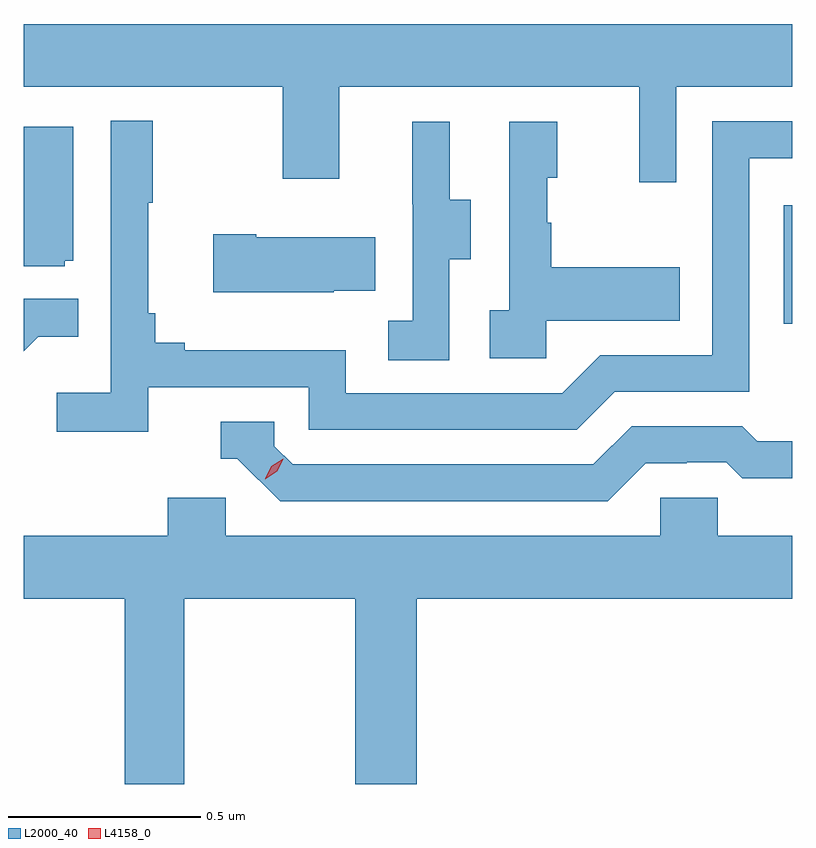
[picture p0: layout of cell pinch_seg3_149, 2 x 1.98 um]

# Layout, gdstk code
import gdstk
lib = gdstk.Library(unit=1e-6, precision=1e-09)
def R(c, l, rs):  # rectangles x0, y0, x1, y1
    for r in rs: c.add(gdstk.rectangle(r[:2], r[2:], *l))
def P(c, l, *ps):  # polygons
    for p in ps: c.add(gdstk.Polygon(p, *l))
L2000_40 = (2000, 40)
L4158_0 = (4158, 0)

pinch_seg3_149 = lib.new_cell('pinch_seg3_149')
R(pinch_seg3_149, L2000_40, [(1110.186,720.279,1110.208,720.588)])
P(pinch_seg3_149, L2000_40, [(1108.208,720.896),(1108.882,720.896),(1108.882,720.657),(1109.029,720.657),(1109.029,720.896),(1109.81,720.896),(1109.81,720.648),(1109.907,720.648),(1109.907,720.896),(1110.208,720.896),(1110.208,721.06),(1108.208,721.06)],
  [(1108.532,720.114),(1108.95,720.114),(1108.95,720.003),(1109.647,720.003),(1109.746,720.102),(1110.096,720.102),(1110.096,720.711),(1110.208,720.711),(1110.208,720.807),(1110,720.807),(1110,720.198),(1109.709,720.198),(1109.61,720.099),(1109.046,720.099),(1109.046,720.211),(1108.627,720.211),(1108.627,720.23),(1108.55,720.23),(1108.55,720.307),(1108.531,720.307),(1108.531,720.595),(1108.543,720.595),(1108.543,720.808),(1108.434,720.808),(1108.434,720.1),(1108.293,720.1),(1108.293,719.998),(1108.532,719.998)],
  [(1109.316,720.448),(1109.371,720.448),(1109.371,720.603),(1109.317,720.603),(1109.317,720.805),(1109.219,720.805),(1109.219,720.591),(1109.22,720.591),(1109.22,720.287),(1109.157,720.287),(1109.157,720.184),(1109.316,720.184)],
  [(1109.568,720.287),(1109.915,720.287),(1109.915,720.427),(1109.581,720.427),(1109.581,720.542),(1109.571,720.542),(1109.571,720.66),(1109.596,720.66),(1109.596,720.805),(1109.472,720.805),(1109.472,720.314),(1109.421,720.314),(1109.421,720.189),(1109.568,720.189)],
  [(1108.314,720.444),(1108.336,720.444),(1108.336,720.793),(1108.208,720.793),(1108.208,720.429),(1108.314,720.429)],
  [(1109.015,720.365),(1109.123,720.365),(1109.123,720.505),(1108.813,720.505),(1108.813,720.513),(1108.701,720.513),(1108.701,720.362),(1109.015,720.362)],
  [(1108.245,720.245),(1108.349,720.245),(1108.349,720.344),(1108.208,720.344),(1108.208,720.208)],
  [(1109.827,719.916),(1109.934,719.916),(1109.934,719.919),(1110.037,719.919),(1110.079,719.877),(1110.208,719.877),(1110.208,719.973),(1110.118,719.973),(1110.079,720.012),(1109.79,720.012),(1109.691,719.913),(1108.908,719.913),(1108.86,719.961),(1108.86,720.024),(1108.721,720.024),(1108.721,719.928),(1108.764,719.928),(1108.875,719.817),(1109.728,719.817)],
  [(1108.626,719.564),(1109.071,719.564),(1109.071,719.081),(1109.231,719.081),(1109.231,719.564),(1110.208,719.564),(1110.208,719.728),(1110.015,719.728),(1110.015,719.826),(1109.865,719.826),(1109.865,719.728),(1108.734,719.728),(1108.734,719.826),(1108.583,719.826),(1108.583,719.728),(1108.208,719.728),(1108.208,719.564),(1108.471,719.564),(1108.471,719.081),(1108.626,719.081)])
P(pinch_seg3_149, L4158_0, [(1108.836,719.875),(1108.836,719.876),(1108.852,719.908),(1108.883,719.928),(1108.883,719.928),(1108.883,719.928),(1108.867,719.895),(1108.836,719.875)])

lib.write_gds('pinch_seg3_149.gds')
